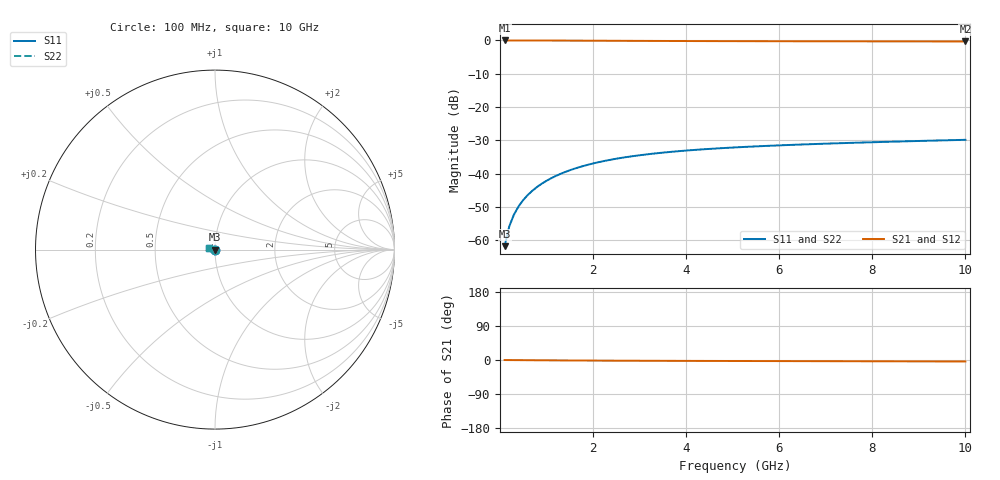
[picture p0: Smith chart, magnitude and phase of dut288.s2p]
! Touchstone file exported from HFSS 2024.1.0
!  File:  C:/UserFiles/LocalFiles/RDL_TSV_Batchsim/temp_TSV1_288_1779393928.aedt
!  Generated:  04:11:52 AM May 22, 2026
!  Design:  TSV1
!  Project:  temp_TSV1_288_1779393928
!  Setup:  Setup1
!  Solution:  Sweep
! Variables:
!  dtsv = 9.07um
!  hbump = 3um
!  htsv = 57.59um
!  lrdl = 252.1521522um
!  p = 40
!  p1 = 49.89um
!  t = 500um
!  trdl = 3um
!  wrdl = 24.89489489um
# GHz S MA R 50.000000
! Terminal data exported
! Port[1] = TSV22_T1
! Port[2] = TSV22_T2
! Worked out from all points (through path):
!   100 points, 100 MHz to 10 GHz, reference 50 ohm
!   highest |S21| = 0.00 dB at 100 MHz (marker M1); lowest = -0.3 dB at 10 GHz (marker M2)
!   lowest |S11| = -61.8 dB at 100 MHz (marker M3), VSWR 1.00, Z = 50 - j0.0801 ohm
!   |S11| at or under -10 dB: start of sweep to end of sweep
!   |S22| runs from -61.8 to -29.9 dB; largest |S21 - S12| = 4.7e-15
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0.1  0.0008095 -81.5  0.9998 -0.1  0.9998 -0.1  0.0008095 -81.5
! Gamma 0 0 0 0
! Port Impedance 50 0 50 0
0.2  0.001608 -88.4  0.9997 -0.2  0.9997 -0.2  0.001608 -88.4
0.3  0.002409 -92.1  0.9996 -0.3  0.9996 -0.3  0.002409 -92.1
0.4  0.003205 -94.9  0.9994 -0.4  0.9994 -0.4  0.003205 -94.9
0.5  0.003993 -97.4  0.9991 -0.4  0.9991 -0.4  0.003993 -97.4
0.6  0.004774 -99.7  0.9988 -0.5  0.9988 -0.5  0.004774 -99.7
0.7  0.005543 -101.8  0.9985 -0.6  0.9985 -0.6  0.005543 -101.8
0.8  0.006301 -103.9  0.9981 -0.7  0.9981 -0.7  0.006301 -103.9
0.9  0.007046 -105.9  0.9977 -0.8  0.9977 -0.8  0.007046 -105.9
1.1  0.008493 -109.7  0.9967 -0.9  0.9967 -0.9  0.008493 -109.7
1.4  0.01054 -115.2  0.9951 -1.2  0.9951 -1.2  0.01054 -115.2
1.6  0.01182 -118.7  0.9939 -1.3  0.9939 -1.3  0.01182 -118.7
1.8  0.01303 -122.1  0.9926 -1.4  0.9926 -1.4  0.01303 -122.1
2.1  0.0147 -126.8  0.9907 -1.6  0.9907 -1.6  0.0147 -126.8
2.5  0.01669 -132.7  0.9882 -1.8  0.9882 -1.8  0.01669 -132.7
2.9  0.01842 -138.1  0.9857 -2.0  0.9857 -2.0  0.01842 -138.1
3.4  0.02027 -144.3  0.983 -2.1  0.983 -2.1  0.02027 -144.3
4.2  0.02268 -152.9  0.9791 -2.4  0.9791 -2.4  0.02268 -152.9
5.1  0.02479 -161.1  0.9757 -2.7  0.9757 -2.7  0.02479 -161.1
6.7  0.02765 -173.1  0.9714 -3.1  0.9714 -3.1  0.02765 -173.1
8.4  0.03007 176.8  0.9684 -3.5  0.9684 -3.5  0.03007 176.8
10  0.03211 168.8  0.9665 -3.9  0.9665 -3.9  0.03211 168.8
